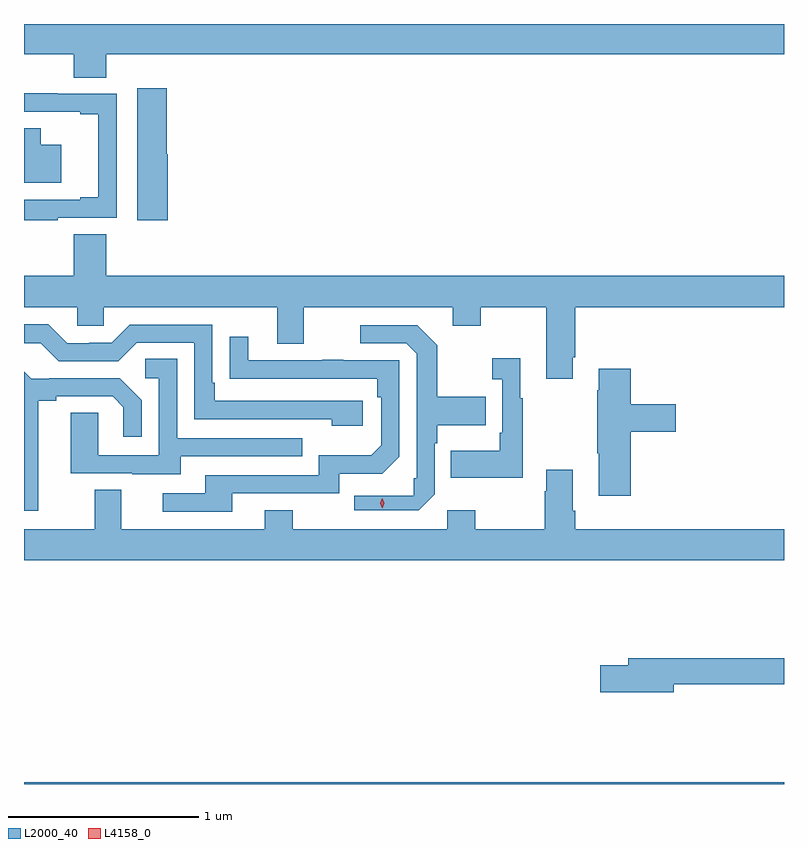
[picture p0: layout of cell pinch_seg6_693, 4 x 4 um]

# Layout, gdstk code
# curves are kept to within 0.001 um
import gdstk
lib = gdstk.Library(unit=1e-6, precision=1e-09)
def R(c, l, rs):  # rectangles x0, y0, x1, y1
    for r in rs: c.add(gdstk.rectangle(r[:2], r[2:], *l))
def P(c, l, *ps):  # polygons
    for p in ps: c.add(gdstk.Polygon(p, *l))
L2000_40 = (2000, 40)
L4158_0 = (4158, 0)

pinch_seg6_693 = lib.new_cell('pinch_seg6_693')
R(pinch_seg6_693, L2000_40, [(501.076,938.166,505.076,938.176)])
P(pinch_seg6_693, L2000_40, [(501.509,942.008),(505.076,942.008),(505.076,942.166),(501.076,942.166),(501.076,942.008),(501.338,942.008),(501.338,941.884),(501.509,941.884)],
  [(501.832,941.481),(501.827,941.481),(501.827,941.827),(501.671,941.827),(501.671,941.133),(501.832,941.133)],
  [(501.254,941.145),(501.564,941.145),(501.564,941.799),(501.254,941.799),(501.254,941.801),(501.076,941.801),(501.076,941.703),(501.371,941.703),(501.371,941.691),(501.467,941.691),(501.467,941.254),(501.371,941.254),(501.371,941.241),(501.076,941.241),(501.076,941.133),(501.254,941.133)],
  [(501.271,941.53),(501.165,941.53),(501.165,941.618),(501.076,941.618),(501.076,941.33),(501.271,941.33)],
  [(503.965,940.411),(503.978,940.411),(503.978,940.676),(505.076,940.676),(505.076,940.84),(501.509,940.84),(501.509,941.06),(501.338,941.06),(501.338,940.84),(501.076,940.84),(501.076,940.676),(501.357,940.676),(501.357,940.578),(501.495,940.578),(501.495,940.676),(502.409,940.676),(502.409,940.482),(502.549,940.482),(502.549,940.676),(503.333,940.676),(503.333,940.577),(503.481,940.577),(503.481,940.676),(503.825,940.676),(503.825,940.299),(503.965,940.299)],
  [(502.858,940.182),(502.081,940.182),(502.081,940.279),(502.068,940.279),(502.068,940.584),(501.633,940.584),(501.537,940.488),(501.419,940.488),(501.419,940.485),(501.303,940.485),(501.203,940.585),(501.076,940.585),(501.076,940.485),(501.165,940.485),(501.258,940.392),(501.573,940.392),(501.669,940.488),(501.972,940.488),(501.972,940.086),(502.697,940.086),(502.697,940.052),(502.858,940.052)],
  [(503.238,939.69),(503.238,939.959),(503.251,939.959),(503.251,940.055),(503.507,940.055),(503.507,940.203),(503.251,940.203),(503.251,940.475),(503.145,940.581),(502.845,940.581),(502.845,940.485),(503.088,940.485),(503.142,940.431),(503.142,939.774),(503.126,939.774),(503.126,939.683),(502.815,939.682),(502.815,939.606),(503.154,939.606)],
  [(502.171,939.696),(502.734,939.696),(502.734,939.798),(502.962,939.798),(503.052,939.888),(503.052,940.395),(502.757,940.395),(502.757,940.4),(502.645,940.4),(502.645,940.395),(502.255,940.395),(502.255,940.519),(502.159,940.519),(502.159,940.3),(502.936,940.299),(502.936,940.202),(502.956,940.202),(502.956,939.948),(502.903,939.895),(502.626,939.895),(502.626,939.792),(502.031,939.792),(502.031,939.696),(501.807,939.696),(501.807,939.6),(502.171,939.6)],
  [(503.701,940.195),(503.689,940.195),(503.689,940.408),(503.541,940.408),(503.541,940.295),(503.592,940.295),(503.592,940.015),(503.58,940.015),(503.58,939.919),(503.323,939.919),(503.323,939.779),(503.701,939.779)],
  [(501.901,939.891),(502.541,939.891),(502.541,939.987),(501.882,939.987),(501.882,940.403),(501.714,940.403),(501.714,940.302),(501.786,940.302),(501.786,939.897),(501.468,939.897),(501.468,940.121),(501.323,940.121),(501.323,939.801),(501.647,939.801),(501.647,939.797),(501.901,939.797)],
  [(504.269,940.019),(504.505,940.019),(504.505,940.166),(504.269,940.166),(504.269,940.351),(504.101,940.351),(504.101,940.238),(504.094,940.238),(504.094,939.907),(504.101,939.907),(504.101,939.684),(504.269,939.684)],
  [(501.151,940.184),(501.247,940.184),(501.247,940.206),(501.542,940.206),(501.599,940.149),(501.599,939.993),(501.696,939.993),(501.696,940.186),(501.58,940.302),(501.208,940.302),(501.208,940.299),(501.114,940.299),(501.076,940.337),(501.076,939.603),(501.151,939.603)],
  [(502.343,939.607),(502.343,939.508),(501.589,939.508),(501.589,939.716),(501.449,939.716),(501.449,939.508),(501.076,939.508),(501.076,939.344),(505.076,939.344),(505.076,939.508),(503.978,939.508),(503.978,939.604),(503.965,939.604),(503.965,939.82),(503.825,939.82),(503.825,939.707),(503.818,939.707),(503.818,939.508),(503.451,939.508),(503.451,939.607),(503.304,939.607),(503.304,939.508),(502.491,939.508),(502.491,939.607)],
  [(504.496,938.692),(505.076,938.692),(505.076,938.828),(504.257,938.828),(504.257,938.792),(504.108,938.792),(504.108,938.65),(504.496,938.65)])
P(pinch_seg6_693, L4158_0, [(502.961,939.617),(502.961,939.617),(502.951,939.644),(502.961,939.671),(502.961,939.671),(502.961,939.671),(502.971,939.644),(502.961,939.617)])

lib.write_gds('pinch_seg6_693.gds')
